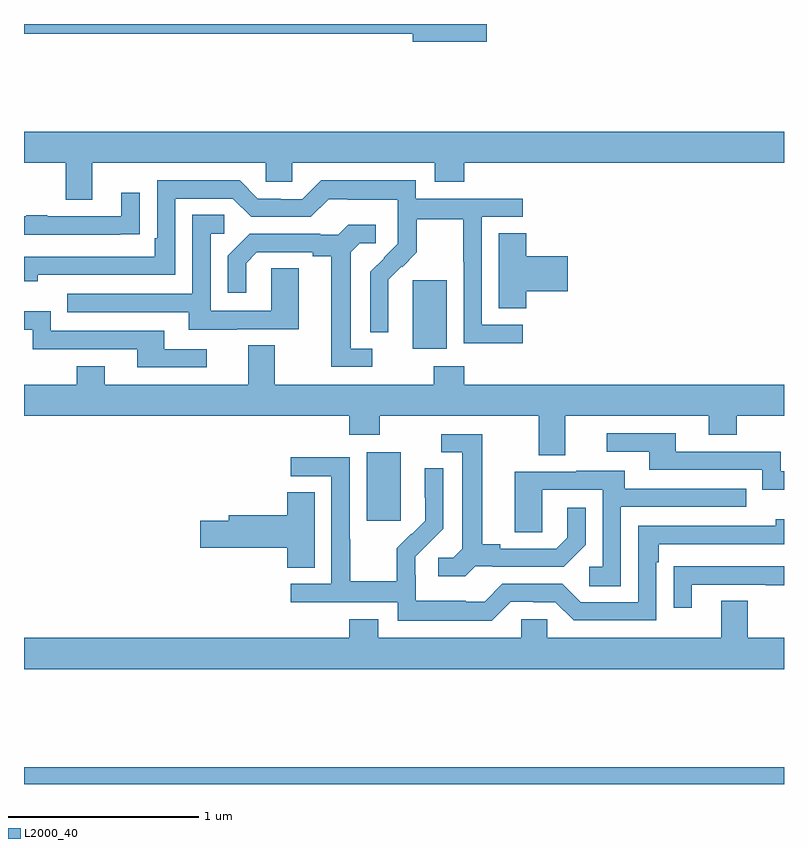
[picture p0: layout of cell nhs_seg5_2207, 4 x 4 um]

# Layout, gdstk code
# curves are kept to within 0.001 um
import gdstk
lib = gdstk.Library(unit=1e-6, precision=1e-09)
def R(c, l, rs):  # rectangles x0, y0, x1, y1
    for r in rs: c.add(gdstk.rectangle(r[:2], r[2:], *l))
def P(c, l, *ps):  # polygons
    for p in ps: c.add(gdstk.Polygon(p, *l))
L2000_40 = (2000, 40)

nhs_seg5_2207 = lib.new_cell('nhs_seg5_2207')
R(nhs_seg5_2207, L2000_40, [(239,878.799,243,878.888), (240.803,880.185,240.982,880.546), (241.046,881.09,241.225,881.451)])
P(nhs_seg5_2207, L2000_40, [(241.435,882.799),(239,882.799),(239,882.748),(241.046,882.748),(241.046,882.706),(241.435,882.706)],
  [(239.359,882.068),(240.273,882.068),(240.273,881.97),(240.411,881.97),(240.411,882.068),(241.163,882.068),(241.163,881.969),(241.316,881.969),(241.316,882.068),(243,882.068),(243,882.232),(239,882.232),(239,882.068),(239.219,882.068),(239.219,881.874),(239.359,881.874)],
  [(241.624,881.217),(241.41,881.217),(241.41,881.784),(241.624,881.784),(241.624,881.88),(241.062,881.88),(241.062,881.977),(240.565,881.977),(240.465,881.877),(240.35,881.877),(240.35,881.88),(240.231,881.88),(240.135,881.976),(239.7,881.976),(239.7,881.671),(239.687,881.671),(239.687,881.574),(239,881.574),(239,881.444),(239.072,881.444),(239.072,881.478),(239.796,881.478),(239.796,881.88),(240.099,881.88),(240.195,881.784),(240.51,881.784),(240.603,881.877),(240.703,881.877),(240.703,881.873),(240.966,881.873),(240.966,881.739),(240.968,881.739),(240.968,881.642),(240.822,881.494),(240.822,881.176),(240.918,881.176),(240.917,881.453),(240.987,881.523),(240.99,881.52),(241.067,881.597),(241.067,881.772),(241.312,881.772),(241.312,881.548),(241.314,881.548),(241.314,881.119),(241.624,881.119)],
  [(239.507,881.692),(239.609,881.692),(239.609,881.911),(239.513,881.911),(239.513,881.787),(239.123,881.787),(239.123,881.792),(239.011,881.792),(239.011,881.787),(239,881.787),(239,881.691),(239.507,881.691)],
  [(240.121,881.193),(240.445,881.193),(240.445,881.513),(240.3,881.513),(240.3,881.289),(239.982,881.289),(239.982,881.694),(240.055,881.694),(240.055,881.795),(239.886,881.795),(239.886,881.379),(239.227,881.379),(239.227,881.283),(239.867,881.283),(239.867,881.189),(240.121,881.189)],
  [(240.832,881.091),(240.721,881.091),(240.721,881.599),(240.768,881.646),(240.85,881.646),(240.85,881.743),(240.706,881.743),(240.654,881.691),(240.56,881.691),(240.56,881.694),(240.188,881.694),(240.072,881.578),(240.072,881.385),(240.169,881.385),(240.169,881.541),(240.226,881.598),(240.521,881.598),(240.521,881.576),(240.617,881.576),(240.617,880.995),(240.832,880.995)],
  [(241.643,881.393),(241.861,881.393),(241.861,881.576),(241.643,881.576),(241.643,881.699),(241.499,881.699),(241.499,881.302),(241.643,881.302)],
  [(239.962,881.088),(239.737,881.088),(239.737,881.184),(239.142,881.184),(239.142,881.287),(239,881.287),(239,881.19),(239.046,881.19),(239.046,881.088),(239.597,881.088),(239.597,880.992),(239.962,880.992)],
  [(241.849,880.736),(242.603,880.736),(242.603,880.637),(242.751,880.637),(242.751,880.736),(243,880.736),(243,880.9),(241.316,880.9),(241.316,880.999),(241.156,880.999),(241.156,880.9),(240.319,880.9),(240.319,881.108),(240.179,881.108),(240.179,880.9),(239.425,880.9),(239.425,880.999),(239.278,880.999),(239.278,880.9),(239,880.9),(239,880.736),(240.713,880.736),(240.713,880.637),(240.873,880.637),(240.873,880.736),(241.709,880.736),(241.709,880.528),(241.849,880.528)],
  [(243,880.446),(242.982,880.446),(242.982,880.548),(242.431,880.548),(242.431,880.644),(242.067,880.644),(242.067,880.548),(242.291,880.548),(242.291,880.452),(242.886,880.452),(242.886,880.349),(243,880.349)],
  [(241.374,879.945),(241.468,879.945),(241.468,879.942),(241.84,879.942),(241.956,880.058),(241.956,880.252),(241.859,880.252),(241.859,880.095),(241.802,880.038),(241.507,880.038),(241.507,880.061),(241.411,880.061),(241.411,880.641),(241.197,880.641),(241.197,880.545),(241.307,880.545),(241.307,880.037),(241.26,879.99),(241.179,879.99),(241.179,879.893),(241.322,879.893)],
  [(241.563,879.759),(241.679,879.759),(241.679,879.756),(241.797,879.756),(241.893,879.66),(242.328,879.66),(242.328,879.965),(242.341,879.965),(242.341,880.062),(243,880.062),(243,880.192),(242.957,880.192),(242.957,880.158),(242.232,880.158),(242.232,879.756),(241.929,879.756),(241.833,879.852),(241.518,879.852),(241.425,879.759),(241.325,879.759),(241.325,879.763),(241.062,879.763),(241.062,879.897),(241.06,879.897),(241.06,879.994),(241.206,880.142),(241.206,880.46),(241.11,880.46),(241.11,880.306),(241.112,880.306),(241.112,880.184),(241.041,880.113),(241.038,880.116),(240.961,880.039),(240.961,879.865),(240.717,879.865),(240.717,880.088),(240.714,880.088),(240.714,880.518),(240.405,880.518),(240.405,880.419),(240.618,880.419),(240.618,879.852),(240.405,879.852),(240.405,879.756),(240.966,879.756),(240.966,879.659),(241.463,879.659)],
  [(242.142,880.257),(242.801,880.257),(242.801,880.353),(242.161,880.353),(242.161,880.447),(241.907,880.447),(241.907,880.443),(241.583,880.443),(241.583,880.123),(241.728,880.123),(241.728,880.347),(242.046,880.347),(242.046,879.942),(241.974,879.942),(241.974,879.841),(242.142,879.841)],
  [(240.529,880.334),(240.386,880.334),(240.386,880.214),(240.077,880.214),(240.077,880.184),(239.928,880.184),(239.928,880.042),(240.386,880.042),(240.386,879.937),(240.529,879.937)],
  [(242.515,879.849),(242.905,879.849),(242.905,879.844),(243,879.844),(243,879.945),(242.521,879.945),(242.521,879.944),(242.419,879.944),(242.419,879.726),(242.515,879.726)],
  [(243,879.568),(242.809,879.568),(242.809,879.763),(242.669,879.763),(242.669,879.568),(241.755,879.568),(241.755,879.666),(241.617,879.666),(241.617,879.568),(240.865,879.568),(240.865,879.667),(240.713,879.667),(240.713,879.568),(239,879.568),(239,879.404),(243,879.404)])

lib.write_gds('nhs_seg5_2207.gds')
